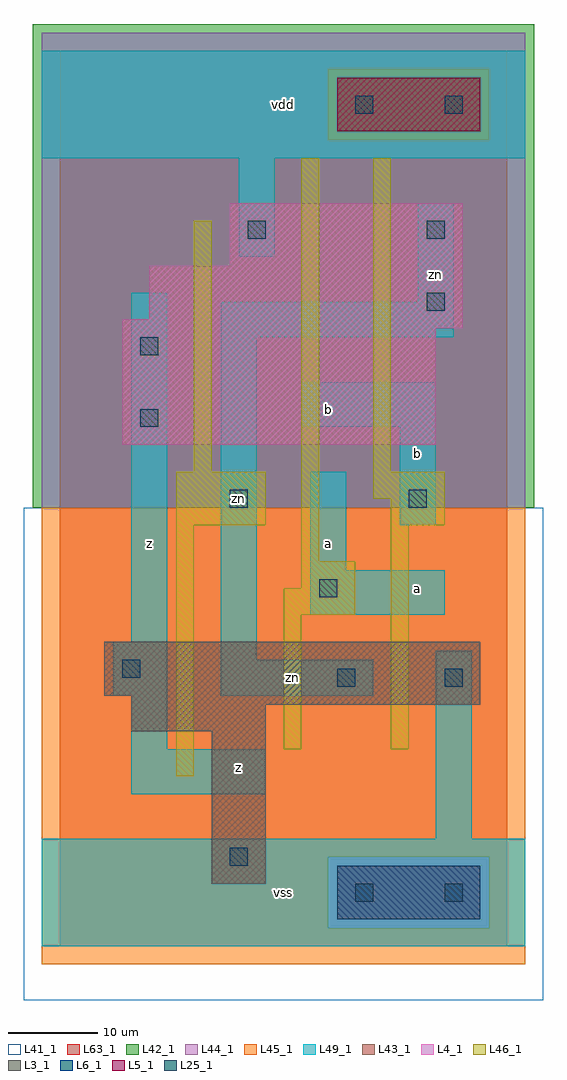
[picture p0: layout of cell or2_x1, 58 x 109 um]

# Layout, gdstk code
import gdstk
lib = gdstk.Library(unit=1e-6, precision=1e-09)
def R(c, l, rs):  # rectangles x0, y0, x1, y1
    for r in rs: c.add(gdstk.rectangle(r[:2], r[2:], *l))
L3_1 = (3, 1)
L4_1 = (4, 1)
L5_1 = (5, 1)
L6_1 = (6, 1)
L25_1 = (25, 1)
L41_1 = (41, 1)
L42_1 = (42, 1)
L43_1 = (43, 1)
L44_1 = (44, 1)
L45_1 = (45, 1)
L46_1 = (46, 1)
L49_1 = (49, 1)
L63_1 = (63, 1)

or2_x1 = lib.new_cell('or2_x1')
R(or2_x1, L3_1, [(17,7,23,24), (8,24,23,27), (8,27,47,28), (5,28,47,34)])
R(or2_x1, L4_1, [(7,56,42,69), (7,69,45,70), (10,70,45,76), (19,76,45,83)])
R(or2_x1, L5_1, [(31,91,47,97)])
R(or2_x1, L6_1, [(31,3,47,9)])
R(or2_x1, L25_1, [(33,5,35,7), (43,5,45,7), (19,9,21,11), (31,29,33,31), (43,29,45,31), (7,30,9,32), (29,39,31,41), (19,49,21,51), (39,49,41,51), (9,58,11,60), (9,66,11,68), (41,71,43,73), (21,79,23,81), (41,79,43,81), (33,93,35,95), (43,93,45,95)])
R(or2_x1, L41_1, [(-4,-6,54,49), (-3,-3,53,49)])
R(or2_x1, L42_1, [(-3,49,53,103)])
R(or2_x1, L43_1, [(31,3,47,9), (17,7,23,24), (8,24,23,27), (8,27,47,28), (5,28,47,34), (7,56,42,69), (7,69,45,70), (10,70,45,76), (19,76,45,83), (31,91,47,97)])
R(or2_x1, L44_1, [(30,2,48,10), (-2,49,52,90), (-2,90,30,98), (48,90,52,98), (-2,98,52,102)])
R(or2_x1, L45_1, [(-2,-2,52,2), (-2,2,30,10), (48,2,52,10), (-2,10,52,49), (30,90,48,98)])
R(or2_x1, L46_1, [(13,19,15,47), (25,22,27,37), (37,22,39,47), (25,37,33,40), (27,40,33,43), (27,43,29,88), (13,47,23,53), (37,47,43,50), (35,50,43,53), (15,53,17,81), (35,53,37,88)])
R(or2_x1, L49_1, [(-2,0,52,12), (42,12,46,33), (8,17,23,22), (8,22,12,28), (6,28,12,34), (18,28,35,32), (18,32,22,68), (8,34,12,73), (28,37,43,42), (28,42,32,53), (38,47,42,58), (27,58,42,63), (18,68,44,72), (40,72,44,83), (20,77,24,88), (-2,88,52,100)])
R(or2_x1, L63_1, [(0,0,50,100)])
or2_x1.add(gdstk.Label('z', (20,20), layer=49, texttype=1))
or2_x1.add(gdstk.Label('z', (20,20), layer=49, texttype=1))
or2_x1.add(gdstk.Label('z', (10,45), layer=49, texttype=1))
or2_x1.add(gdstk.Label('z', (10,45), layer=49, texttype=1))
or2_x1.add(gdstk.Label('zn', (20,50), layer=49, texttype=1))
or2_x1.add(gdstk.Label('vss', (25,6), layer=49, texttype=1))
or2_x1.add(gdstk.Label('vss', (25,6), layer=49, texttype=1))
or2_x1.add(gdstk.Label('zn', (26,30), layer=49, texttype=1))
or2_x1.add(gdstk.Label('a', (30,45), layer=49, texttype=1))
or2_x1.add(gdstk.Label('a', (30,45), layer=49, texttype=1))
or2_x1.add(gdstk.Label('b', (30,60), layer=49, texttype=1))
or2_x1.add(gdstk.Label('b', (30,60), layer=49, texttype=1))
or2_x1.add(gdstk.Label('vdd', (25,94), layer=49, texttype=1))
or2_x1.add(gdstk.Label('vdd', (25,94), layer=49, texttype=1))
or2_x1.add(gdstk.Label('a', (40,40), layer=49, texttype=1))
or2_x1.add(gdstk.Label('a', (40,40), layer=49, texttype=1))
or2_x1.add(gdstk.Label('b', (40,55), layer=49, texttype=1))
or2_x1.add(gdstk.Label('b', (40,55), layer=49, texttype=1))
or2_x1.add(gdstk.Label('zn', (42,75), layer=49, texttype=1))

lib.write_gds('or2_x1.gds')
